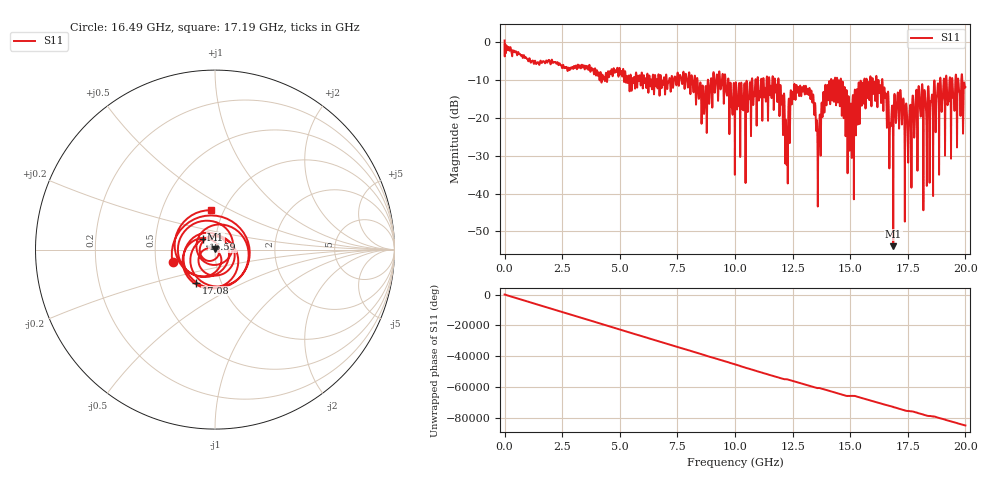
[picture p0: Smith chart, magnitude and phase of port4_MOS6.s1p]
! MS46122B
! 2250307/22442219
! 7/26/2025 10:25:05 AM
! C:\USERS\SPARKY\DOCUMENTS\VNA_DATA\JULY26_2025\295K\PORT4_MOS6.S1P
! CHANNEL.1
! TR.MEASUREMENT
! RAW.DATA
# GHZ S RI R 50.0
! FREQ.GHZ  S11RE  S11IM
!; PortSelection: Port_1
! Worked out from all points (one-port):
!   10001 points, 1 MHz to 20 GHz, reference 50 ohm
!   lowest |S11| = -53.9 dB at 16.87 GHz (marker M1), VSWR 1.00, Z = 50.2 + j0.116 ohm
!   |S11| at or under -10 dB: 9.719 GHz to 10.73 GHz (1.013 GHz wide, 9.91 % of centre); 11.89 GHz to 14.17 GHz (2.274 GHz wide, 17.4 % of centre); 16.4 GHz to 18.9 GHz (2.499 GHz wide, 14.2 % of centre) (the widest 3 of 74)
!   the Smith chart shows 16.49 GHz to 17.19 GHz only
!   S11 on the Smith chart (normalised r, x): 16.49 GHz: 0.61, -0.09; 16.59 GHz: 0.87, +0.10; 17.08 GHz: 0.76, -0.29; 17.19 GHz: 0.87, +0.40
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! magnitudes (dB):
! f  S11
! 1 MHz  0.4
! 2.501 GHz  -6.9
! 5.001 GHz  -7.1
! 7.501 GHz  -8.3
! 8.705 GHz  -13.2
! 9.391 GHz  -12.2
! 10 GHz  -23.0
! 11.81 GHz  -11.4
! 12.25 GHz  -27.8
! 12.5 GHz  -13.1
! 13.31 GHz  -12.8
! 13.63 GHz  -27.0
! 13.84 GHz  -13.2
! 14.09 GHz  -10.4
! 14.6 GHz  -9.7
! 15 GHz  -19.5
! 15.54 GHz  -10.7
! 16.49 GHz  -12.2
! 16.59 GHz  -21.0
! 16.78 GHz  -21.0
! 16.87 GHz  -53.9
! 17.08 GHz  -13.5
! 17.19 GHz  -13.1
! 17.5 GHz  -27.5
! 18.05 GHz  -18.9
! 18.38 GHz  -12.2
! 18.99 GHz  -16.1
! 20 GHz  -11.9
